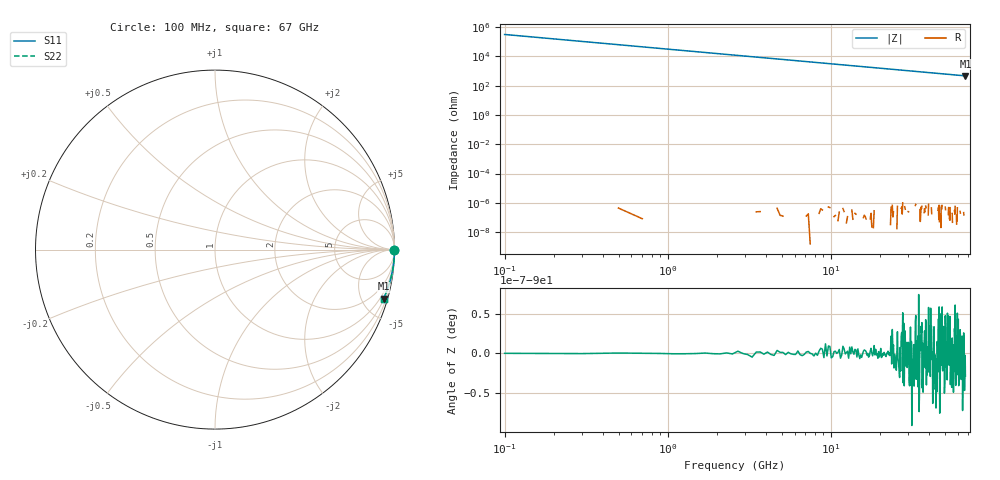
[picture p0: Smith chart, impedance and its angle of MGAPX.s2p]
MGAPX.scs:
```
simulator lang=local
global 0
ahdl_include "D:\saves\Pycharm\HowToElementBuilder\Code\Files\ver\MGAPX.va"
I0 p1 p2 MGAPX T = 1e-06 H = 0.0001 ER0 = 1.0 MU0 = 1.0 TD0 = 0.0 ER1 = 12.9 MU1 = 1.0001 TD1 = 0.001 W = 7e-05 S = 2e-05 NumPorts = 2
PORT1 p1 0 port r=50 num=1 type=sine rptstart=1 rpttimes=0
PORT2 p2 0 port r=50 num=2 type=sine rptstart=1 rpttimes=0
SPSweep sp start=100000000 stop=67000000000 step=199701492.53731343 file="D:\saves\Pycharm\HowToElementBuilder\Code\Files\symout\MGAPX.s2p"
DEFAULT_OPTIONS options tnom=27 temp=27  acout=0 fast_spice=0 reltol=1.000000e-003 rawfmt=nutascii
```
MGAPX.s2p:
! Touchstone Ver. 1.0
! Number of ports is 2
# Hz  S RI  R  50
! SCATTERING PARAMETERS  :
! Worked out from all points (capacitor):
!   336 points, 100 MHz to 67 GHz, reference 50 ohm
!   read as one part in series: C = 5.14 fF near 299.7 MHz
!   lowest |Z| = 462 ohm at 67 GHz (marker M1)
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1e8  1 -0.00043  1.39e-07 0.000323  1.39e-07 0.000323  1 -0.00043
2.997015e8  1 -0.00129  1.25e-06 0.000969  1.25e-06 0.000969  1 -0.00129
4.99403e8  1 -0.00215  3.47e-06 0.00161  3.47e-06 0.00161  1 -0.00215
8.98806e8  1 -0.00387  1.12e-05 0.0029  1.12e-05 0.0029  1 -0.00387
1.298209e9  1 -0.00559  2.34e-05 0.0042  2.34e-05 0.0042  1 -0.00559
2.895821e9  0.9999 -0.0125  0.000117 0.00936  0.000117 0.00936  0.9999 -0.0125
5.691642e9  0.9995 -0.0245  0.00045 0.0184  0.00045 0.0184  0.9995 -0.0245
9.885373e9  0.9986 -0.0425  0.00136 0.0319  0.00136 0.0319  0.9986 -0.0425
1.567672e10  0.9965 -0.0672  0.0034 0.0505  0.0034 0.0505  0.9965 -0.0672
3.364985e10  0.9839 -0.1428  0.0155 0.1068  0.0155 0.1068  0.9839 -0.1428
6.7e10  0.9388 -0.2731  0.0586 0.2015  0.0586 0.2015  0.9388 -0.2731
